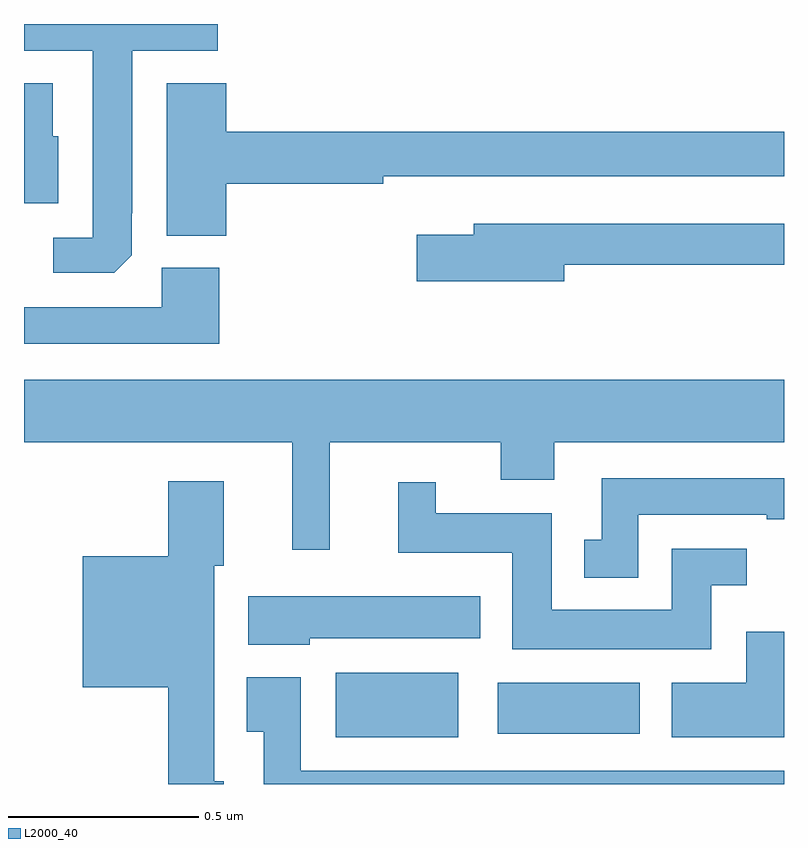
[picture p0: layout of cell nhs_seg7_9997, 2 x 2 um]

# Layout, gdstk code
import gdstk
lib = gdstk.Library(unit=1e-6, precision=1e-09)
def R(c, l, rs):  # rectangles x0, y0, x1, y1
    for r in rs: c.add(gdstk.rectangle(r[:2], r[2:], *l))
def P(c, l, *ps):  # polygons
    for p in ps: c.add(gdstk.Polygon(p, *l))
L2000_40 = (2000, 40)

nhs_seg7_9997 = lib.new_cell('nhs_seg7_9997')
R(nhs_seg7_9997, L2000_40, [(244.82,1049.123,245.143,1049.293), (245.247,1049.132,245.62,1049.266)])
P(nhs_seg7_9997, L2000_40, [(244.284,1050.391),(244.284,1050.502),(244.285,1050.502),(244.285,1050.929),(244.51,1050.929),(244.51,1051),(244,1051),(244,1050.929),(244.181,1050.929),(244.181,1050.438),(244.077,1050.438),(244.077,1050.345),(244.238,1050.345)],
  [(244.532,1050.58),(244.946,1050.58),(244.946,1050.6),(246,1050.6),(246,1050.716),(244.532,1050.716),(244.532,1050.844),(244.376,1050.844),(244.376,1050.443),(244.532,1050.443)],
  [(244.09,1050.705),(244.075,1050.705),(244.075,1050.844),(244,1050.844),(244,1050.528),(244.09,1050.528)],
  [(245.422,1050.366),(246,1050.366),(246,1050.474),(245.183,1050.474),(245.183,1050.445),(245.034,1050.445),(245.034,1050.323),(245.422,1050.323)],
  [(244.514,1050.358),(244.362,1050.358),(244.362,1050.255),(244,1050.255),(244,1050.159),(244.514,1050.159)],
  [(244.805,1049.9),(245.255,1049.9),(245.255,1049.801),(245.395,1049.801),(245.395,1049.9),(246,1049.9),(246,1050.064),(244,1050.064),(244,1049.9),(244.706,1049.9),(244.706,1049.616),(244.805,1049.616)],
  [(245.616,1049.709),(245.954,1049.709),(245.954,1049.697),(246,1049.697),(246,1049.805),(245.52,1049.805),(245.52,1049.643),(245.474,1049.643),(245.474,1049.543),(245.616,1049.543)],
  [(244.525,1049.007),(244.501,1049.007),(244.501,1049.574),(244.525,1049.574),(244.525,1049.797),(244.379,1049.797),(244.379,1049.599),(244.154,1049.599),(244.154,1049.255),(244.379,1049.255),(244.379,1049),(244.525,1049)],
  [(245.809,1049.523),(245.902,1049.523),(245.902,1049.619),(245.705,1049.619),(245.705,1049.458),(245.389,1049.458),(245.389,1049.713),(245.083,1049.713),(245.083,1049.794),(244.985,1049.794),(244.985,1049.609),(245.285,1049.609),(245.285,1049.354),(245.809,1049.354)],
  [(244.752,1049.384),(245.2,1049.384),(245.2,1049.494),(244.59,1049.494),(244.59,1049.366),(244.752,1049.366)],
  [(246,1049.401),(245.9,1049.401),(245.9,1049.266),(245.705,1049.266),(245.705,1049.123),(246,1049.123)],
  [(246,1049.035),(244.728,1049.035),(244.728,1049.281),(244.586,1049.281),(244.586,1049.137),(244.631,1049.137),(244.631,1049),(246,1049)])

lib.write_gds('nhs_seg7_9997.gds')
